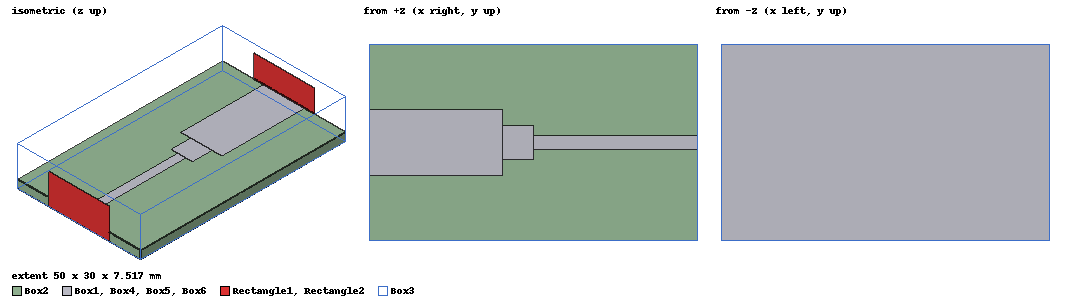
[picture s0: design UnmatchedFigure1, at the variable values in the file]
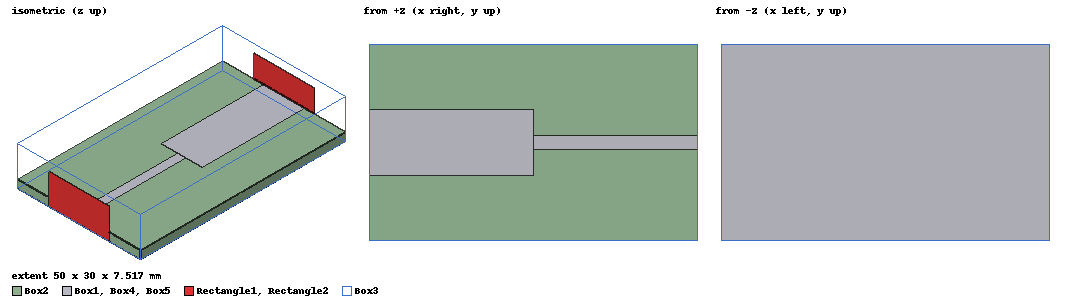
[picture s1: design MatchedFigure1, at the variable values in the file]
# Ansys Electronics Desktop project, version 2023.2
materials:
  vacuum: permittivity=1
  pec: conductivity=1e+30
  air: permittivity=1.0006 permeability=1.0000004
  Teflon (tm): permittivity=2.1 dielectric_loss_tangent=0.001

design UnmatchedFigure1 (HFSS, HFSS Terminal Network, model units mm)
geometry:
  Box1 [pec] = box(corner=(0mm, 0mm, 0mm), size=(50mm, 30mm, 17um))
  Box2 [Teflon (tm)] = box(corner=(0mm, 0mm, 17um), size=(50mm, 30mm, 2mm))
  Box3 [air] = box(corner=(0mm, 0mm, 0mm), size=(50mm, 30mm, 9.5mm))
  Box4 [pec] = box(corner=(0mm, 10mm, 2.017mm), size=((25-4.78995054575) mm, 10mm, 17um))
  Box5 [pec] = box(corner=(25mm, 14mm, 2mm), size=(25mm, 2mm, 17um))
  Rectangle1 = rectangle(corner=(0mm, 7.5mm, 0mm), y_size=15mm, z_size=7.5mm)
  Rectangle2 = rectangle(corner=(50mm, 7.5mm, 0.017mm), y_size=15mm, z_size=7.5mm)
  Box6 [pec] = box(corner=((25-4.78995054575) mm, 12.4mm, 2.017mm), size=(4.7899505mm, 5.2mm, 17um))
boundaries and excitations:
  1: Wave Port Objects=Rectangle2 WavePortType=Modal NumModes=1 Modes{Mode1{CharImp=Zpi}}
  2: Wave Port Objects=Rectangle1 WavePortType=Modal NumModes=1 Modes{Mode1{CharImp=Zpi}}
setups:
  Setup1: HfssDriven Frequency=12GHz MaxDeltaS=0.02 MaximumPasses=8 MinimumPasses=1 MinimumConvergedPasses=1 PercentRefinement=30 BasisOrder=1 PortAccuracy=2 DrivenSolverType="Direct Solver"
    sweep Sweep: 6GHz to 18GHz, 401 points; Type=Interpolating InterpTolerance=0.5 InterpMaxSolns=250 PassivityErrorTolerance=0.0001
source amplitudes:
  1:1: 1V 0deg
  2:1: 0V 0deg
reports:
  Terminal S Parameter Plot 1: dB(St(1,1)) vs Freq on Setup1 : Sweep

design MatchedFigure1 (HFSS, HFSS Terminal Network, model units mm)
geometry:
  Box1 [pec] = box(corner=(0mm, 0mm, 0mm), size=(50mm, 30mm, 17um))
  Box2 [Teflon (tm)] = box(corner=(0mm, 0mm, 17um), size=(50mm, 30mm, 2mm))
  Box3 [air] = box(corner=(0mm, 0mm, 0mm), size=(50mm, 30mm, 9.5mm))
  Box4 [pec] = box(corner=(0mm, 10mm, 2.017mm), size=(25mm, 10mm, 17um))
  Box5 [pec] = box(corner=(25mm, 14mm, 2mm), size=(25mm, 2mm, 17um))
  Rectangle1 = rectangle(corner=(0mm, 7.5mm, 0mm), y_size=15mm, z_size=7.5mm)
  Rectangle2 = rectangle(corner=(50mm, 7.5mm, 0.017mm), y_size=15mm, z_size=7.5mm)
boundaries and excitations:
  1: Wave Port Objects=Rectangle2 WavePortType=Modal NumModes=1 Modes{Mode1{CharImp=Zpi}}
  2: Wave Port Objects=Rectangle1 WavePortType=Modal NumModes=1 Modes{Mode1{CharImp=Zpi}}
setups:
  Setup1: HfssDriven Frequency=12GHz MaxDeltaS=0.02 MaximumPasses=8 MinimumPasses=1 MinimumConvergedPasses=1 PercentRefinement=30 BasisOrder=1 PortAccuracy=2 DrivenSolverType="Direct Solver"
    sweep Sweep: 6GHz to 18GHz, 401 points; Type=Interpolating InterpTolerance=0.5 InterpMaxSolns=250 PassivityErrorTolerance=0.0001
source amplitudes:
  1:1: 1V 0deg
  2:1: 0V 0deg
